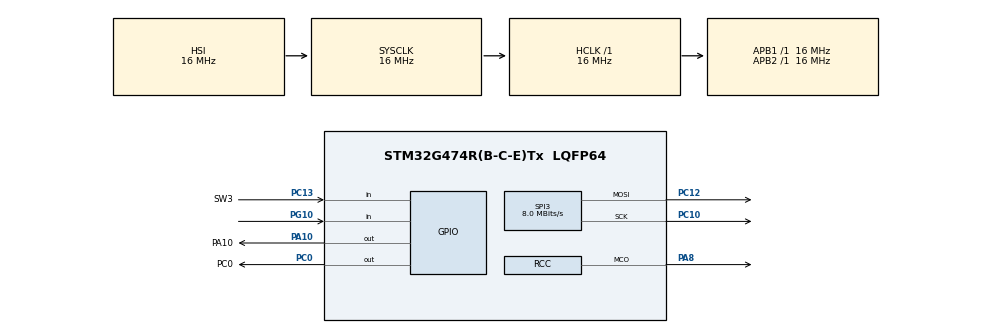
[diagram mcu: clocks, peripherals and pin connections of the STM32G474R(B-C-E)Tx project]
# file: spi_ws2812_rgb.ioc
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Mcu.Family=STM32G4
Mcu.Name=STM32G474R(B-C-E)Tx
Mcu.Package=LQFP64
NVIC.PriorityGroup=NVIC_PRIORITYGROUP_4
PA10.GPIO_Label=PA10
PA10.GPIO_Speed=GPIO_SPEED_FREQ_HIGH
PA10.Signal=GPIO_Output
PA13.Mode=Serial_Wire
PA13.Signal=SYS_JTMS-SWDIO
PA14.Mode=Serial_Wire
PA14.Signal=SYS_JTCK-SWCLK
PA8.GPIO_Speed=GPIO_SPEED_FREQ_HIGH
PA8.Mode=Clock-out
PA8.Signal=RCC_MCO
PC0.GPIO_Label=PC0
PC0.Signal=GPIO_Output
PC10.GPIO_Speed=GPIO_SPEED_FREQ_HIGH
PC10.Mode=TX_Only_Simplex_Unidirect_Master
PC10.Signal=SPI3_SCK
PC12.GPIO_Speed=GPIO_SPEED_FREQ_HIGH
PC12.Mode=TX_Only_Simplex_Unidirect_Master
PC12.Signal=SPI3_MOSI
PC13.GPIO_Label=SW3
PC13.GPIO_PuPd=GPIO_PULLUP
PC13.Signal=GPIO_Input
PF0-OSC_IN.Mode=HSE-External-Oscillator
PF0-OSC_IN.Signal=RCC_OSC_IN
PF1-OSC_OUT.Mode=HSE-External-Oscillator
PF1-OSC_OUT.Signal=RCC_OSC_OUT
PG10-NRST.Signal=GPIO_Input
ProjectManager.HeapSize=0x200
ProjectManager.StackSize=0x400
ProjectManager.TargetToolchain=STM32CubeIDE
RCC.AHBFreq_Value=16000000
RCC.APB1Freq_Value=16000000
RCC.APB1TimFreq_Value=16000000
RCC.APB2Freq_Value=16000000
RCC.APB2TimFreq_Value=16000000
RCC.CortexFreq_Value=16000000
RCC.EXTERNAL_CLOCK_VALUE=12288000
RCC.HCLKFreq_Value=16000000
RCC.HSE_VALUE=25000000
RCC.HSI48_VALUE=48000000
RCC.HSI_VALUE=16000000
RCC.LSE_VALUE=32768
RCC.RCC_MCO1Source=RCC_MCO1SOURCE_HSE
RCC.SYSCLKFreq_VALUE=16000000
RCC.USBFreq_Value=64000000
RCC.VCOOutputFreq_Value=128000000
SPI3.CLKPolarity=SPI_POLARITY_HIGH
SPI3.CalculateBaudRate=8.0 MBits/s
SPI3.DataSize=SPI_DATASIZE_16BIT
SPI3.Direction=SPI_DIRECTION_2LINES
SPI3.Mode=SPI_MODE_MASTER
SPI3.VirtualNSS=VM_NSSHARD
SPI3.VirtualType=VM_MASTER
VP_SYS_VS_DBSignals.Mode=DisableDeadBatterySignals
board=custom

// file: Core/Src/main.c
/* USER CODE BEGIN Header */
/**
  ******************************************************************************
  * @file           : main.c
  * @brief          : Main program body
  ******************************************************************************
  * @attention
  *
  * Copyright (c) 2024 STMicroelectronics.
  * All rights reserved.
  *
  * This software is licensed under terms that can be found in the LICENSE file
  * in the root directory of this software component.
  * If no LICENSE file comes with this software, it is provided AS-IS.
  *
  ******************************************************************************
  */
/* USER CODE END Header */
#include "main.h"

/* USER CODE BEGIN Includes */
/*这是一段注释
 *
 * written by jac1own
 *
 * set_freq函数可以用来设置输出的频率，还有波形
 * 将原控制字第8位（0-15）由零变一 可实现使用引脚fsel psel控制
 *
 *
 *
 *
 *
 */
/* USER CODE END Includes */

SPI_HandleTypeDef hspi3;

void SystemClock_Config(void);
static void MX_GPIO_Init(void);
static void MX_SPI3_Init(void);
/* USER CODE BEGIN PFP */
void send_data(uint16_t data);
void set_freq(long long int freq, int c);
/* USER CODE END PFP */

/* USER CODE BEGIN 0 */
//1为正弦波�???? 2为三角波 ,3为正弦波+方波 方波在sqr引脚输出
void set_freq(long long int freq, int c)
{

	long long int temp = (freq * 268435456 / 25000000);
	uint32_t fr = temp;
	uint16_t lsb = 0x4000;
	uint16_t msb = 0x4000;
	for (int i = 0; i < 14; ++i) {
	    // 对于lsb，直接取fr对应�????
	    if (fr & (1 << i)) {
	        lsb |= (1 << i);
	    }
	    if (fr & (1 << (i + 14))) {
	        msb |= (1 << i);
	    }
	}

	send_data(0x2100);//send_data(0x2300);
	send_data(lsb);//freq0
	send_data(msb);
	send_data(0x2100);
	send_data(0x8000);//freq1
	send_data(0x8432);
	//send_data(0x0028);
	switch(c)
		{
			case 1:send_data(0x0000);break;//send_data(0x0200);
			case 2:send_data(0x0002);break;
			case 3:send_data(0x0028); break;
		}
	//send_data(0x2200);
}

void send_data(uint16_t data)
{
	HAL_GPIO_WritePin(PA10_GPIO_Port, PA10_Pin, GPIO_PIN_RESET);
	HAL_SPI_Transmit(&hspi3, (uint8_t *)&data, 1, 10);
	HAL_GPIO_WritePin(PA10_GPIO_Port, PA10_Pin, GPIO_PIN_SET);
}
/* USER CODE END 0 */

int main(void)
{

  /* MCU Configuration--------------------------------------------------------*/

  /* Reset of all peripherals, Initializes the Flash interface and the Systick. */
  HAL_Init();

  /* Configure the system clock */
  SystemClock_Config();

  /* Initialize all configured peripherals */
  MX_GPIO_Init();
  MX_SPI3_Init();
  /* USER CODE BEGIN 2 */
//  send_data(0x2100);
//  send_data(0x50c7);
//  send_data(0x4000);
//  send_data(0xc000);
//  send_data(0x2000);

  //set_freq(200,1);
  send_data(0x2100);
  send_data(0x50C7);
  send_data(0x4000);
  send_data(0xC000);
  send_data(0x2300);
  send_data(0x8000);
  send_data(0x8432);
  send_data(0x2200);

  /* USER CODE END 2 */

  /* Infinite loop */
  while (1)
  {

    /* USER CODE BEGIN 3 */
	  if (HAL_GPIO_ReadPin(SW3_GPIO_Port, SW3_Pin) == 0)
		  HAL_GPIO_WritePin(PC0_GPIO_Port, PC0_Pin,1);
	  else
		  HAL_GPIO_WritePin(PC0_GPIO_Port, PC0_Pin	,GPIO_PIN_RESET);
	  //send_data(0x2200);

  }
  /* USER CODE END 3 */
}

void SystemClock_Config(void)
{
  RCC_OscInitTypeDef RCC_OscInitStruct = {0};
  RCC_ClkInitTypeDef RCC_ClkInitStruct = {0};

  /** Configure the main internal regulator output voltage
  */
  HAL_PWREx_ControlVoltageScaling(PWR_REGULATOR_VOLTAGE_SCALE1);

  /** Initializes the RCC Oscillators according to the specified parameters
  * in the RCC_OscInitTypeDef structure.
  */
  RCC_OscInitStruct.OscillatorType = RCC_OSCILLATORTYPE_HSI|RCC_OSCILLATORTYPE_HSE;
  RCC_OscInitStruct.HSEState = RCC_HSE_ON;
  RCC_OscInitStruct.HSIState = RCC_HSI_ON;
  RCC_OscInitStruct.HSICalibrationValue = RCC_HSICALIBRATION_DEFAULT;
  RCC_OscInitStruct.PLL.PLLState = RCC_PLL_NONE;
  if (HAL_RCC_OscConfig(&RCC_OscInitStruct) != HAL_OK)
  {
    Error_Handler();
  }

  /** Initializes the CPU, AHB and APB buses clocks
  */
  RCC_ClkInitStruct.ClockType = RCC_CLOCKTYPE_HCLK|RCC_CLOCKTYPE_SYSCLK
                              |RCC_CLOCKTYPE_PCLK1|RCC_CLOCKTYPE_PCLK2;
  RCC_ClkInitStruct.SYSCLKSource = RCC_SYSCLKSOURCE_HSI;
  RCC_ClkInitStruct.AHBCLKDivider = RCC_SYSCLK_DIV1;
  RCC_ClkInitStruct.APB1CLKDivider = RCC_HCLK_DIV1;
  RCC_ClkInitStruct.APB2CLKDivider = RCC_HCLK_DIV1;

  if (HAL_RCC_ClockConfig(&RCC_ClkInitStruct, FLASH_LATENCY_0) != HAL_OK)
  {
    Error_Handler();
  }
  HAL_RCC_MCOConfig(RCC_MCO1, RCC_MCO1SOURCE_HSE, RCC_MCODIV_1);
}

static void MX_SPI3_Init(void)
{

  /* SPI3 parameter configuration*/
  hspi3.Instance = SPI3;
  hspi3.Init.Mode = SPI_MODE_MASTER;
  hspi3.Init.Direction = SPI_DIRECTION_2LINES;
  hspi3.Init.DataSize = SPI_DATASIZE_16BIT;
  hspi3.Init.CLKPolarity = SPI_POLARITY_HIGH;
  hspi3.Init.CLKPhase = SPI_PHASE_1EDGE;
  hspi3.Init.NSS = SPI_NSS_SOFT;
  hspi3.Init.BaudRatePrescaler = SPI_BAUDRATEPRESCALER_2;
  hspi3.Init.FirstBit = SPI_FIRSTBIT_MSB;
  hspi3.Init.TIMode = SPI_TIMODE_DISABLE;
  hspi3.Init.CRCCalculation = SPI_CRCCALCULATION_DISABLE;
  hspi3.Init.CRCPolynomial = 7;
  hspi3.Init.CRCLength = SPI_CRC_LENGTH_DATASIZE;
  hspi3.Init.NSSPMode = SPI_NSS_PULSE_ENABLE;
  if (HAL_SPI_Init(&hspi3) != HAL_OK)
  {
    Error_Handler();
  }

}

static void MX_GPIO_Init(void)
{
  GPIO_InitTypeDef GPIO_InitStruct = {0};

  /* GPIO Ports Clock Enable */
  __HAL_RCC_GPIOC_CLK_ENABLE();
  __HAL_RCC_GPIOF_CLK_ENABLE();
  __HAL_RCC_GPIOG_CLK_ENABLE();
  __HAL_RCC_GPIOA_CLK_ENABLE();

  /*Configure GPIO pin Output Level */
  HAL_GPIO_WritePin(PC0_GPIO_Port, PC0_Pin, GPIO_PIN_RESET);

  /*Configure GPIO pin Output Level */
  HAL_GPIO_WritePin(PA10_GPIO_Port, PA10_Pin, GPIO_PIN_RESET);

  /*Configure GPIO pin : SW3_Pin */
  GPIO_InitStruct.Pin = SW3_Pin;
  GPIO_InitStruct.Mode = GPIO_MODE_INPUT;
  GPIO_InitStruct.Pull = GPIO_PULLUP;
  HAL_GPIO_Init(SW3_GPIO_Port, &GPIO_InitStruct);

  /*Configure GPIO pin : PG10 */
  GPIO_InitStruct.Pin = GPIO_PIN_10;
  GPIO_InitStruct.Mode = GPIO_MODE_INPUT;
  GPIO_InitStruct.Pull = GPIO_NOPULL;
  HAL_GPIO_Init(GPIOG, &GPIO_InitStruct);

  /*Configure GPIO pin : PC0_Pin */
  GPIO_InitStruct.Pin = PC0_Pin;
  GPIO_InitStruct.Mode = GPIO_MODE_OUTPUT_PP;
  GPIO_InitStruct.Pull = GPIO_NOPULL;
  GPIO_InitStruct.Speed = GPIO_SPEED_FREQ_LOW;
  HAL_GPIO_Init(PC0_GPIO_Port, &GPIO_InitStruct);

  /*Configure GPIO pin : PA8 */
  GPIO_InitStruct.Pin = GPIO_PIN_8;
  GPIO_InitStruct.Mode = GPIO_MODE_AF_PP;
  GPIO_InitStruct.Pull = GPIO_NOPULL;
  GPIO_InitStruct.Speed = GPIO_SPEED_FREQ_HIGH;
  GPIO_InitStruct.Alternate = GPIO_AF0_MCO;
  HAL_GPIO_Init(GPIOA, &GPIO_InitStruct);

  /*Configure GPIO pin : PA10_Pin */
  GPIO_InitStruct.Pin = PA10_Pin;
  GPIO_InitStruct.Mode = GPIO_MODE_OUTPUT_PP;
  GPIO_InitStruct.Pull = GPIO_NOPULL;
  GPIO_InitStruct.Speed = GPIO_SPEED_FREQ_HIGH;
  HAL_GPIO_Init(PA10_GPIO_Port, &GPIO_InitStruct);

}

void Error_Handler(void)
{
  __disable_irq();
  while (1)
  {
  }
}
